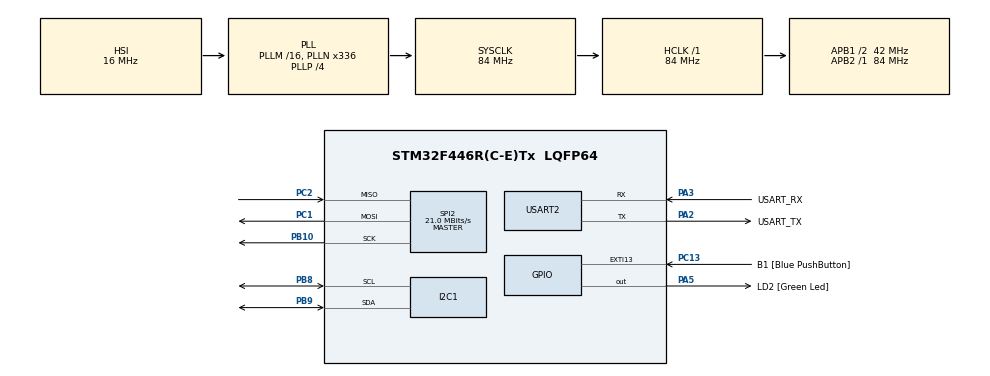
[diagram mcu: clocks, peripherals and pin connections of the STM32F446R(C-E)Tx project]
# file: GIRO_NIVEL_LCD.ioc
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I2C1.I2C_Mode=I2C_Fast
Mcu.Family=STM32F4
Mcu.Name=STM32F446R(C-E)Tx
Mcu.Package=LQFP64
NVIC.PriorityGroup=NVIC_PRIORITYGROUP_0
PA13.GPIO_Label=TMS
PA13.Mode=Serial_Wire
PA13.Signal=SYS_JTMS-SWDIO
PA14.GPIO_Label=TCK
PA14.Mode=Serial_Wire
PA14.Signal=SYS_JTCK-SWCLK
PA2.GPIO_Label=USART_TX
PA2.Mode=Asynchronous
PA2.Signal=USART2_TX
PA3.GPIO_Label=USART_RX
PA3.Mode=Asynchronous
PA3.Signal=USART2_RX
PA5.GPIO_Label=LD2 [Green Led]
PA5.Signal=GPIO_Output
PB10.Mode=Full_Duplex_Master
PB10.Signal=SPI2_SCK
PB3.GPIO_Label=SWO
PB3.Signal=SYS_JTDO-SWO
PB8.Mode=I2C
PB8.Signal=I2C1_SCL
PB9.Mode=I2C
PB9.Signal=I2C1_SDA
PC1.Mode=Full_Duplex_Master
PC1.Signal=SPI2_MOSI
PC13.GPIO_Label=B1 [Blue PushButton]
PC13.GPIO_ModeDefaultEXTI=GPIO_MODE_IT_FALLING
PC13.Signal=GPXTI13
PC14-OSC32_IN.Mode=LSE-External-Oscillator
PC14-OSC32_IN.Signal=RCC_OSC32_IN
PC15-OSC32_OUT.Mode=LSE-External-Oscillator
PC15-OSC32_OUT.Signal=RCC_OSC32_OUT
PC2.Mode=Full_Duplex_Master
PC2.Signal=SPI2_MISO
PH0-OSC_IN.Mode=HSE-External-Oscillator
PH0-OSC_IN.Signal=RCC_OSC_IN
PH1-OSC_OUT.Mode=HSE-External-Oscillator
PH1-OSC_OUT.Signal=RCC_OSC_OUT
ProjectManager.HeapSize=0x200
ProjectManager.StackSize=0x400
ProjectManager.TargetToolchain=STM32CubeIDE
RCC.48MHZClocksFreq_Value=84000000
RCC.AHBFreq_Value=84000000
RCC.APB1CLKDivider=RCC_HCLK_DIV2
RCC.APB1Freq_Value=42000000
RCC.APB1TimFreq_Value=84000000
RCC.APB2Freq_Value=84000000
RCC.APB2TimFreq_Value=84000000
RCC.CortexFreq_Value=84000000
RCC.FLatency-AdvancedSettings=FLASH_LATENCY_2
RCC.HCLKFreq_Value=84000000
RCC.HSE_VALUE=8000000
RCC.HSI_VALUE=16000000
RCC.PLLN=336
RCC.PLLP=RCC_PLLP_DIV4
RCC.SYSCLKFreq_VALUE=84000000
RCC.SYSCLKSource=RCC_SYSCLKSOURCE_PLLCLK
RCC.USBFreq_Value=168000000
RCC.VCOOutputFreq_Value=336000000
SPI2.CalculateBaudRate=21.0 MBits/s
SPI2.Direction=SPI_DIRECTION_2LINES
SPI2.Mode=SPI_MODE_MASTER
SPI2.VirtualType=VM_MASTER
TIM1.AutoReloadPreload=TIM_AUTORELOAD_PRELOAD_ENABLE
TIM1.Period=65535-1
TIM1.Prescaler=84-1
USART2.VirtualMode=VM_ASYNC
VP_TIM1_VS_ClockSourceINT.Mode=Internal
board=NUCLEO-F446RE

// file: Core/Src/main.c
/* USER CODE BEGIN Header */
/**
  ******************************************************************************
  * @file           : main.c
  * @brief          : Main program body
  ******************************************************************************
  * @attention
  *
  * <h2><center>&copy; Copyright (c) 2021 STMicroelectronics.
  * All rights reserved.</center></h2>
  *
  * This software component is licensed by ST under BSD 3-Clause license,
  * the "License"; You may not use this file except in compliance with the
  * License. You may obtain a copy of the License at:
  *                        opensource.org/licenses/BSD-3-Clause
  *
  ******************************************************************************
  */
/* USER CODE END Header */
#include "main.h"

/* USER CODE BEGIN Includes */
#include <stdio.h>
#include <string.h>
#include "fonts.h"
#include "tft.h"
#include "user_setting.h"
#include "functions.h"
#include "MPU6050_light_STM32.h"

/* USER CODE END Includes */

/* USER CODE BEGIN PD */

#define xOutCirc	160		//Aqui é definido onde será...
#define yOutCirc 	120		//plotado o circulo branco
#define OutRad		110		//O raio do círculo branco que simula o líquido.
#define InRad		10		//O raio do cículo vermelho que simula a bolha de ar

/* USER CODE END PD */

I2C_HandleTypeDef hi2c1;

SPI_HandleTypeDef hspi2;

TIM_HandleTypeDef htim1;

UART_HandleTypeDef huart2;

/* USER CODE BEGIN PV */

uint16_t xInCirc =  160;		//Aqui é definido onde será plotado o X do cícrulo vermelho
uint16_t yInCirc =	120;		//Aqui é definido onde será plotado o Y do cícrulo vermelho
uint32_t timer;
uint16_t PosX = 160 , PosY = 120 ;		// Variáveis para controle de posição do círculo vermelho
float PrevAngleX, PrevAngleY;		//Variáveis para controle de angulo do MPU6050

/* USER CODE END PV */

void SystemClock_Config(void);
static void MX_GPIO_Init(void);
static void MX_USART2_UART_Init(void);
static void MX_TIM1_Init(void);
static void MX_I2C1_Init(void);
static void MX_SPI2_Init(void);

/* USER CODE BEGIN 0 */

#ifdef __GNUC__
/* With GCC/RAISONANCE, small printf (option LD Linker->Libraries->Small printf
set to 'Yes') calls __io_putchar() */
#define PUTCHAR_PROTOTYPE int __io_putchar(int ch)
#else
#define PUTCHAR_PROTOTYPE int fputc(int ch, FILE *f)
#endif /* __GNUC__ */

/* USER CODE END 0 */

int main(void)
{
  /* USER CODE BEGIN 1 */

	static float Offset = 3;		//Aqui é definido uma histerese. i.e.: A partir de quantos graus de diferença será movida a bolha?

  /* USER CODE END 1 */

  /* MCU Configuration--------------------------------------------------------*/

  /* Reset of all peripherals, Initializes the Flash interface and the Systick. */
  HAL_Init();

  /* Configure the system clock */
  SystemClock_Config();

  /* Initialize all configured peripherals */
  MX_GPIO_Init();
  MX_USART2_UART_Init();
  MX_TIM1_Init();
  MX_I2C1_Init();
  MX_SPI2_Init();
  /* USER CODE BEGIN 2 */

  tft_gpio_init(); 				// Inicializa os GPIOs conectados ao LCD;
  HAL_TIM_Base_Start(&htim1); 	// Inicializa o Timer1;
  uint16_t ID = tft_readID(); 	// Lê o ID do LCD, que é "37697";
  tft_init(ID);					// Inicializa o LCD de acordo com o ID;
  setRotation(1);				// Coloca e rotação como PAISAGEM;
  HAL_Delay(100);				// Delay para evitar aquele erro de não preencher a tela corretamente;
  fillScreen(BLACK);			// Nome já diz tudo;

   //Inicia o MPU6050
   MPU6050_init(&hi2c1);
   printnewtstr(50, YELLOW, &mono9x7, 1, (uint8_t *)"Do not move MPU6050");
   MPU6050_calcGyroOffsets();
   HAL_Delay(1000);
   printnewtstr(50, BLACK, &mono9x7, 1, (uint8_t *)"Do not move MPU6050");
   printnewtstr(120, GREEN, &mono9x7, 1, (uint8_t *)"Done!");

   //Desenha o dois círculos do nivel bolha
    fillCircle(xOutCirc, yOutCirc, OutRad, WHITE);
    fillCircle(xInCirc, yInCirc, InRad , RED);
    drawCircle(160, 120, (InRad+10) , BLACK);

  /* USER CODE END 2 */

  /* Infinite loop */
  /* USER CODE BEGIN WHILE */
  while (1)
  {

	   if (	(PosX != xInCirc) || (PosY != yInCirc) )	// Caso a posição em X ou em Y tenha sido atualizada, desenha a bolha na nova posição.
	  {
		  fillCircle(PosX, PosY, InRad , WHITE);
		  fillCircle(xInCirc, yInCirc, InRad , RED);
		  drawCircle(160, 120, (InRad+10) , BLACK);

		  PosX = xInCirc;
		  PosY = yInCirc;
		  HAL_Delay(10);
	  }

	   MPU6050_update();

	   if (   (MPU6050_getAngleX() < (PrevAngleX - Offset) ) && (yInCirc < 200)   )		// Caso o angulo atual seja menor que (ang. anterior - offset)...
	   	   {	yInCirc +=5;	PrevAngleX = MPU6050_getAngleX();	}					//desloca o eixo Y usando a variável respectiva ao eixo Y...

	   else if (   (MPU6050_getAngleX() > (PrevAngleX + Offset) ) && (yInCirc > 60)   ) //Senão, caso o angulo atual seja maior que (ang. anterior + offset)...
	   {	yInCirc -=5;	PrevAngleX = MPU6050_getAngleX();	}						//desloca o eixo Y usando a variável respectiva ao eixo Y...

	   if (   ((MPU6050_getAngleY() < (PrevAngleY - Offset)) && (xInCirc < 230)   ) )	// Caso o angulo atual seja menor que o (ang. anterior - offset)...
	   	   {	xInCirc +=5;	PrevAngleY = MPU6050_getAngleY();	}					//desloca o eixo X  usando a variável respectiva ao eixo X...

	   else if (   ((MPU6050_getAngleY() > (PrevAngleY + Offset))) && (xInCirc > 80)   ) //Senão, caso o angulo atual seja maior que (ang. anterior + offset)...
	   	   {	xInCirc -=5;	PrevAngleY = MPU6050_getAngleY();	}					 //desloca o eixo X  usando a variável respectiva ao eixo X...

/*
	   	   if((HAL_GetTick() - timer) > 500)
		  	  {
		  	  printf("TEMPERATURE : %.2f\r\n", MPU6050_getTemp());
		  	  printf("ACCELERO X : %.2f", MPU6050_getAccX());
		  	  printf("\tY : %.2f", MPU6050_getAccY());
		  	  printf("\tZ : %.2f\r\n", MPU6050_getAccZ());
		  	  printf("GYRO X : %.2f", MPU6050_getGyroX());
		  	  printf("\tY : %.2f", MPU6050_getGyroY());
		  	  printf("\tZ : %.2f\r\n", MPU6050_getGyroZ());
		  	  printf("ACC ANGLE X : %.2f", MPU6050_getAccAngleX());
		  	  printf("\tY : %.2f\r\n", MPU6050_getAccAngleY());
		      printf("ANGLE X : %.2f", MPU6050_getAngleX());
		  	  printf("\tY : %.2f", MPU6050_getAngleY());
		  	  printf("\tZ : %.2f\r\n", MPU6050_getAngleZ());
		  	  printf("=======================================================\r\n");
		  	  timer = HAL_GetTick();
		  	  }
*/

    /* USER CODE END WHILE */

  }
}

void SystemClock_Config(void)
{
  RCC_OscInitTypeDef RCC_OscInitStruct = {0};
  RCC_ClkInitTypeDef RCC_ClkInitStruct = {0};

  /** Configure the main internal regulator output voltage
  */
  __HAL_RCC_PWR_CLK_ENABLE();
  __HAL_PWR_VOLTAGESCALING_CONFIG(PWR_REGULATOR_VOLTAGE_SCALE3);
  /** Initializes the RCC Oscillators according to the specified parameters
  * in the RCC_OscInitTypeDef structure.
  */
  RCC_OscInitStruct.OscillatorType = RCC_OSCILLATORTYPE_HSI;
  RCC_OscInitStruct.HSIState = RCC_HSI_ON;
  RCC_OscInitStruct.HSICalibrationValue = RCC_HSICALIBRATION_DEFAULT;
  RCC_OscInitStruct.PLL.PLLState = RCC_PLL_ON;
  RCC_OscInitStruct.PLL.PLLSource = RCC_PLLSOURCE_HSI;
  RCC_OscInitStruct.PLL.PLLM = 16;
  RCC_OscInitStruct.PLL.PLLN = 336;
  RCC_OscInitStruct.PLL.PLLP = RCC_PLLP_DIV4;
  RCC_OscInitStruct.PLL.PLLQ = 2;
  RCC_OscInitStruct.PLL.PLLR = 2;
  if (HAL_RCC_OscConfig(&RCC_OscInitStruct) != HAL_OK)
  {
    Error_Handler();
  }
  /** Initializes the CPU, AHB and APB buses clocks
  */
  RCC_ClkInitStruct.ClockType = RCC_CLOCKTYPE_HCLK|RCC_CLOCKTYPE_SYSCLK
                              |RCC_CLOCKTYPE_PCLK1|RCC_CLOCKTYPE_PCLK2;
  RCC_ClkInitStruct.SYSCLKSource = RCC_SYSCLKSOURCE_PLLCLK;
  RCC_ClkInitStruct.AHBCLKDivider = RCC_SYSCLK_DIV1;
  RCC_ClkInitStruct.APB1CLKDivider = RCC_HCLK_DIV2;
  RCC_ClkInitStruct.APB2CLKDivider = RCC_HCLK_DIV1;

  if (HAL_RCC_ClockConfig(&RCC_ClkInitStruct, FLASH_LATENCY_2) != HAL_OK)
  {
    Error_Handler();
  }
}

static void MX_I2C1_Init(void)
{

  hi2c1.Instance = I2C1;
  hi2c1.Init.ClockSpeed = 400000;
  hi2c1.Init.DutyCycle = I2C_DUTYCYCLE_2;
  hi2c1.Init.OwnAddress1 = 0;
  hi2c1.Init.AddressingMode = I2C_ADDRESSINGMODE_7BIT;
  hi2c1.Init.DualAddressMode = I2C_DUALADDRESS_DISABLE;
  hi2c1.Init.OwnAddress2 = 0;
  hi2c1.Init.GeneralCallMode = I2C_GENERALCALL_DISABLE;
  hi2c1.Init.NoStretchMode = I2C_NOSTRETCH_DISABLE;
  if (HAL_I2C_Init(&hi2c1) != HAL_OK)
  {
    Error_Handler();
  }

}

static void MX_SPI2_Init(void)
{

  /* SPI2 parameter configuration*/
  hspi2.Instance = SPI2;
  hspi2.Init.Mode = SPI_MODE_MASTER;
  hspi2.Init.Direction = SPI_DIRECTION_2LINES;
  hspi2.Init.DataSize = SPI_DATASIZE_8BIT;
  hspi2.Init.CLKPolarity = SPI_POLARITY_LOW;
  hspi2.Init.CLKPhase = SPI_PHASE_1EDGE;
  hspi2.Init.NSS = SPI_NSS_SOFT;
  hspi2.Init.BaudRatePrescaler = SPI_BAUDRATEPRESCALER_2;
  hspi2.Init.FirstBit = SPI_FIRSTBIT_MSB;
  hspi2.Init.TIMode = SPI_TIMODE_DISABLE;
  hspi2.Init.CRCCalculation = SPI_CRCCALCULATION_DISABLE;
  hspi2.Init.CRCPolynomial = 10;
  if (HAL_SPI_Init(&hspi2) != HAL_OK)
  {
    Error_Handler();
  }

}

static void MX_TIM1_Init(void)
{

  TIM_ClockConfigTypeDef sClockSourceConfig = {0};
  TIM_MasterConfigTypeDef sMasterConfig = {0};

  htim1.Instance = TIM1;
  htim1.Init.Prescaler = 84-1;
  htim1.Init.CounterMode = TIM_COUNTERMODE_UP;
  htim1.Init.Period = 65535-1;
  htim1.Init.ClockDivision = TIM_CLOCKDIVISION_DIV1;
  htim1.Init.RepetitionCounter = 0;
  htim1.Init.AutoReloadPreload = TIM_AUTORELOAD_PRELOAD_ENABLE;
  if (HAL_TIM_Base_Init(&htim1) != HAL_OK)
  {
    Error_Handler();
  }
  sClockSourceConfig.ClockSource = TIM_CLOCKSOURCE_INTERNAL;
  if (HAL_TIM_ConfigClockSource(&htim1, &sClockSourceConfig) != HAL_OK)
  {
    Error_Handler();
  }
  sMasterConfig.MasterOutputTrigger = TIM_TRGO_RESET;
  sMasterConfig.MasterSlaveMode = TIM_MASTERSLAVEMODE_DISABLE;
  if (HAL_TIMEx_MasterConfigSynchronization(&htim1, &sMasterConfig) != HAL_OK)
  {
    Error_Handler();
  }

}

static void MX_USART2_UART_Init(void)
{

  huart2.Instance = USART2;
  huart2.Init.BaudRate = 115200;
  huart2.Init.WordLength = UART_WORDLENGTH_8B;
  huart2.Init.StopBits = UART_STOPBITS_1;
  huart2.Init.Parity = UART_PARITY_NONE;
  huart2.Init.Mode = UART_MODE_TX_RX;
  huart2.Init.HwFlowCtl = UART_HWCONTROL_NONE;
  huart2.Init.OverSampling = UART_OVERSAMPLING_16;
  if (HAL_UART_Init(&huart2) != HAL_OK)
  {
    Error_Handler();
  }

}

static void MX_GPIO_Init(void)
{
  GPIO_InitTypeDef GPIO_InitStruct = {0};

  /* GPIO Ports Clock Enable */
  __HAL_RCC_GPIOC_CLK_ENABLE();
  __HAL_RCC_GPIOH_CLK_ENABLE();
  __HAL_RCC_GPIOA_CLK_ENABLE();
  __HAL_RCC_GPIOB_CLK_ENABLE();

  /*Configure GPIO pin Output Level */
  HAL_GPIO_WritePin(LD2_GPIO_Port, LD2_Pin, GPIO_PIN_RESET);

  /*Configure GPIO pin : B1_Pin */
  GPIO_InitStruct.Pin = B1_Pin;
  GPIO_InitStruct.Mode = GPIO_MODE_IT_FALLING;
  GPIO_InitStruct.Pull = GPIO_NOPULL;
  HAL_GPIO_Init(B1_GPIO_Port, &GPIO_InitStruct);

  /*Configure GPIO pin : LD2_Pin */
  GPIO_InitStruct.Pin = LD2_Pin;
  GPIO_InitStruct.Mode = GPIO_MODE_OUTPUT_PP;
  GPIO_InitStruct.Pull = GPIO_NOPULL;
  GPIO_InitStruct.Speed = GPIO_SPEED_FREQ_LOW;
  HAL_GPIO_Init(LD2_GPIO_Port, &GPIO_InitStruct);

}

/* USER CODE BEGIN 4 */
/**
* @brief Retargets the C library printf function to the USART.
* @param None
* @retval None
*/
PUTCHAR_PROTOTYPE
{
/* Place your implementation of fputc here */
/* e.g. write a character to the USART2 and Loop until the end of transmission */
HAL_UART_Transmit(&huart2, (uint8_t *)&ch, 1, 0xFFFF);
return ch;
}

/* USER CODE END 4 */

void Error_Handler(void)
{
  __disable_irq();
  while (1)
  {
  }
}

/************************ (C) COPYRIGHT STMicroelectronics *****END OF FILE****/
